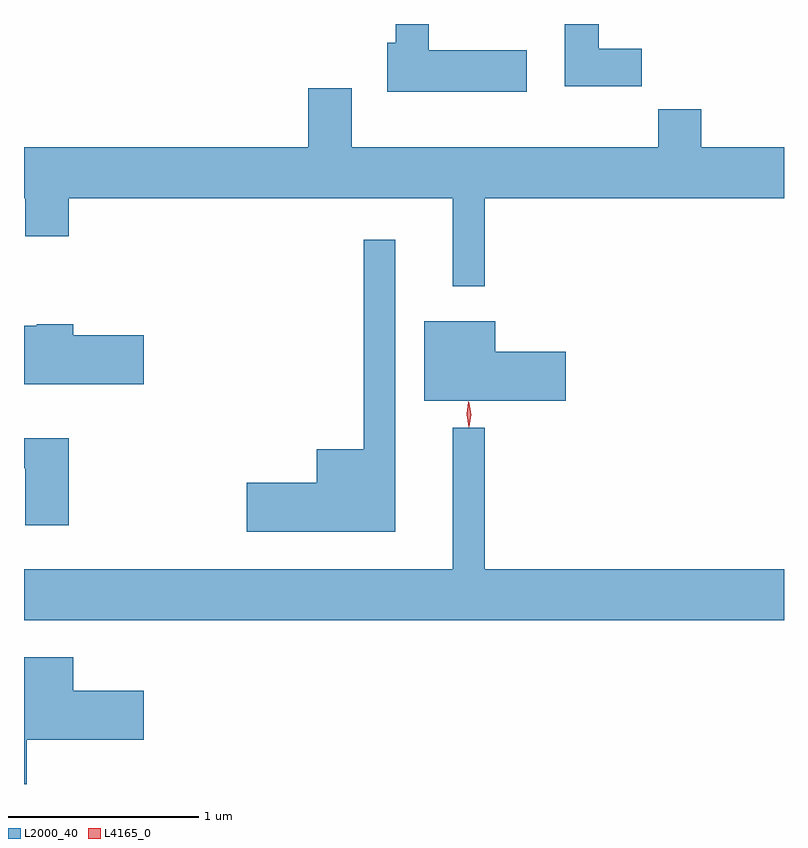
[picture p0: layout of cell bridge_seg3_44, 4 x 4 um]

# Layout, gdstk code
import gdstk
lib = gdstk.Library(unit=1e-6, precision=1e-09)
def P(c, l, *ps):  # polygons
    for p in ps: c.add(gdstk.Polygon(p, *l))
L2000_40 = (2000, 40)
L4165_0 = (4165, 0)

bridge_seg3_44 = lib.new_cell('bridge_seg3_44')
P(bridge_seg3_44, L2000_40, [(1200.229,1166.754),(1199.714,1166.754),(1199.714,1166.893),(1199.541,1166.893),(1199.541,1166.794),(1199.496,1166.794),(1199.496,1166.536),(1200.229,1166.536)],
  [(1200.834,1166.764),(1200.609,1166.764),(1200.609,1166.893),(1200.431,1166.893),(1200.431,1166.566),(1200.834,1166.566)],
  [(1200.009,1165.976),(1201.584,1165.976),(1201.584,1166.244),(1201.149,1166.244),(1201.149,1166.444),(1200.921,1166.444),(1200.921,1166.244),(1199.309,1166.244),(1199.309,1166.554),(1199.081,1166.554),(1199.081,1166.244),(1197.584,1166.244),(1197.584,1165.976),(1197.591,1165.976),(1197.591,1165.776),(1197.819,1165.776),(1197.819,1165.976),(1199.841,1165.976),(1199.841,1165.513),(1200.009,1165.513)],
  [(1199.539,1165.758),(1199.371,1165.758),(1199.371,1164.654),(1199.126,1164.654),(1199.126,1164.479),(1198.756,1164.479),(1198.756,1164.221),(1199.539,1164.221)],
  [(1200.434,1165.169),(1200.064,1165.169),(1200.064,1165.329),(1199.691,1165.329),(1199.691,1164.911),(1200.434,1164.911)],
  [(1198.214,1165.254),(1197.844,1165.254),(1197.844,1165.314),(1197.65,1165.314),(1197.65,1165.304),(1197.584,1165.304),(1197.584,1164.996),(1198.214,1164.996)],
  [(1201.584,1164.024),(1200.009,1164.024),(1200.009,1164.768),(1199.841,1164.768),(1199.841,1164.024),(1197.584,1164.024),(1197.584,1163.756),(1201.584,1163.756)],
  [(1197.819,1164.714),(1197.584,1164.714),(1197.584,1164.556),(1197.591,1164.556),(1197.591,1164.256),(1197.819,1164.256)],
  [(1197.599,1163.126),(1198.214,1163.126),(1198.214,1163.384),(1197.844,1163.384),(1197.844,1163.559),(1197.584,1163.559),(1197.584,1162.893),(1197.599,1162.893)])
P(bridge_seg3_44, L4165_0, [(1199.924,1164.77),(1199.914,1164.838),(1199.923,1164.906),(1199.924,1164.906),(1199.924,1164.906),(1199.934,1164.838),(1199.926,1164.77),(1199.925,1164.77)],
  [(1199.927,1164.773),(1199.918,1164.836),(1199.927,1164.899),(1199.928,1164.9),(1199.928,1164.899),(1199.938,1164.836),(1199.928,1164.773),(1199.928,1164.773)])

lib.write_gds('bridge_seg3_44.gds')
